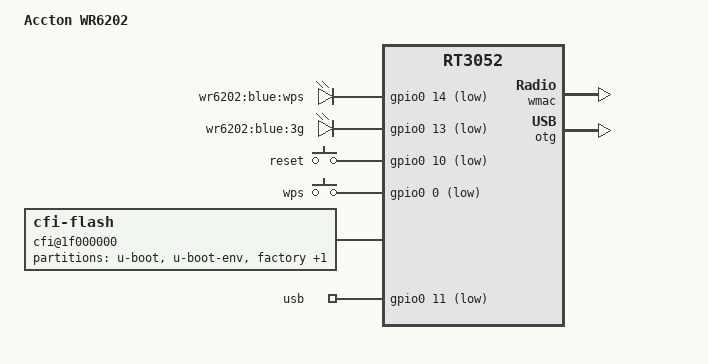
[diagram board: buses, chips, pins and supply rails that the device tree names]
/dts-v1/;

#include "rt3050.dtsi"

#include <dt-bindings/gpio/gpio.h>
#include <dt-bindings/input/input.h>

/ {
	compatible = "accton,wr6202", "ralink,rt3052-soc";
	model = "Accton WR6202";

	chosen {
		bootargs = "console=ttyS0,115200";
	};

	leds {
		compatible = "gpio-leds";

		wps {
			label = "wr6202:blue:wps";
			gpios = <&gpio0 14 GPIO_ACTIVE_LOW>;
		};

		3g {
			label = "wr6202:blue:3g";
			gpios = <&gpio0 13 GPIO_ACTIVE_LOW>;
		};
	};

	keys {
		compatible = "gpio-keys-polled";
		poll-interval = <20>;

		reset {
			label = "reset";
			gpios = <&gpio0 10 GPIO_ACTIVE_LOW>;
			linux,code = <KEY_RESTART>;
		};

		wps {
			label = "wps";
			gpios = <&gpio0 0 GPIO_ACTIVE_LOW>;
			linux,code = <KEY_WPS_BUTTON>;
		};
	};

	cfi@1f000000 {
		compatible = "cfi-flash";
		reg = <0x1f000000 0x800000>;
		bank-width = <2>;
		device-width = <2>;

		partitions {
			compatible = "fixed-partitions";
			#address-cells = <1>;
			#size-cells = <1>;

			partition@0 {
				label = "u-boot";
				reg = <0x0 0x30000>;
				read-only;
			};

			partition@30000 {
				label = "u-boot-env";
				reg = <0x30000 0x10000>;
				read-only;
			};

			factory: partition@40000 {
				label = "factory";
				reg = <0x40000 0x10000>;
				read-only;
			};

			partition@50000 {
				compatible = "denx,uimage";
				label = "firmware";
				reg = <0x50000 0x7b0000>;
			};
		};
	};

	gpio_export {
		compatible = "gpio-export";
		#size-cells = <0>;

		usb {
			gpio-export,name = "usb";
			gpio-export,output = <0>;
			gpios = <&gpio0 11 GPIO_ACTIVE_LOW>;
		};
	};
};

&pinctrl {
	state_default: pinctrl0 {
		gpio {
			ralink,group = "spi", "i2c", "jtag", "rgmii", "mdio", "uartf";
			ralink,function = "gpio";
		};
	};
};

&ethernet {
	mtd-mac-address = <&factory 0x28>;
};

&esw {
	mediatek,portmap = <0x3e>;
};

&wmac {
	ralink,mtd-eeprom = <&factory 0>;
};

&otg {
	status = "okay";
};
